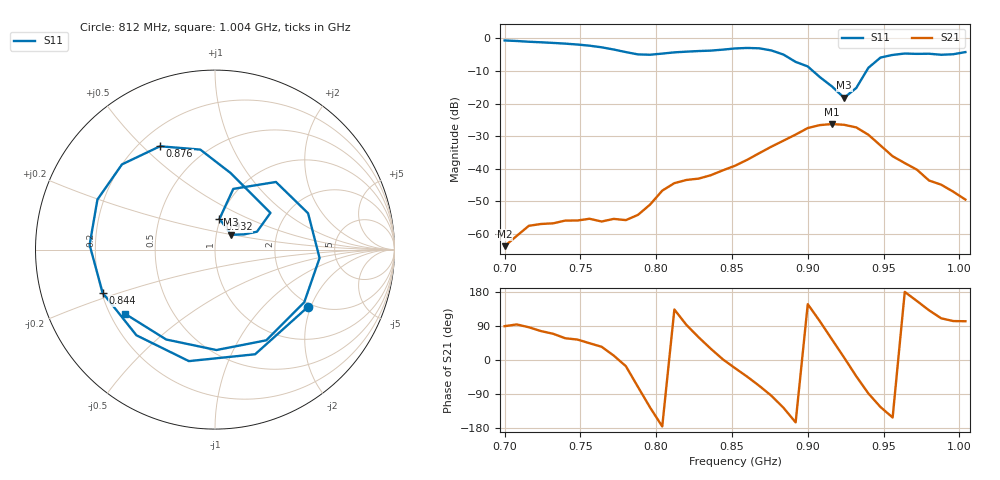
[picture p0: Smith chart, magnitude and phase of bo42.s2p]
# Hz S RI R 50
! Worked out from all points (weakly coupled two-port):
!   39 points, 700 MHz to 1.004 GHz, reference 50 ohm
!   highest |S21| = -26.29 dB at 916 MHz (marker M1); lowest = -63.7 dB at 700 MHz (marker M2)
!   lowest |S11| = -18.2 dB at 924 MHz (marker M3), VSWR 1.28, Z = 59 + j9.9 ohm
!   |S11| at or under -10 dB: 903.4 MHz to 938.8 MHz (35.38 MHz wide, 3.84 % of centre)
!   S12 and S22 are empty: the file has one direction only
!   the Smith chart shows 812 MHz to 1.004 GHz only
!   S11 on the Smith chart (normalised r, x): 812 MHz: 1.90, -1.92; 844 MHz: 0.20, -0.18; 876 MHz: 0.28, +0.56; 932 MHz: 0.99, +0.35; 1.004 GHz: 0.26, -0.30
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7e8  0.7644 0.5251  8.81e-06 0.000651  0 0  0 0
7.24e8  0.828 -0.2647  0.000338 0.00139  0 0  0 0
7.4e8  0.4422 -0.7012  0.000867 0.00135  0 0  0 0
7.56e8  -0.1981 -0.7457  0.00123 0.0012  0 0  0 0
7.72e8  -0.6494 -0.1786  0.00167 0.000344  0 0  0 0
7.8e8  -0.5665 0.2397  0.00157 -0.000456  0 0  0 0
7.96e8  0.2738 0.4887  -0.00164 -0.0023  0 0  0 0
8.04e8  0.5711 0.1179  -0.00461 -0.000376  0 0  0 0
8.12e8  0.5197 -0.3175  -0.00413 0.00439  0 0  0 0
8.28e8  -0.1455 -0.6213  0.00354 0.00612  0 0  0 0
8.44e8  -0.6261 -0.2408  0.00947 0.000273  0 0  0 0
8.52e8  -0.6986 0.0263  0.0104 -0.00406  0 0  0 0
8.76e8  -0.3064 0.5756  -0.00162 -0.0218  0 0  0 0
9e8  0.3089 0.2046  -0.0355 0.0228  0 0  0 0
9.08e8  0.2339 0.0996  -0.00988 0.0457  0 0  0 0
9.16e8  0.1619 0.0849  0.0284 0.0392  0 0  0 0
9.24e8  0.0903 0.0826  0.0469 0.00526  0 0  0 0
9.32e8  0.025 0.1717  0.0316 -0.0293  0 0  0 0
9.48e8  0.3395 0.3768  -0.0128 -0.0188  0 0  0 0
9.56e8  0.5186 0.2025  -0.0137 -0.00738  0 0  0 0
9.8e8  0.2855 -0.5054  -0.00436 0.00498  0 0  0 0
1.004e9  -0.4996 -0.3586  -0.000715 0.0033  0 0  0 0
